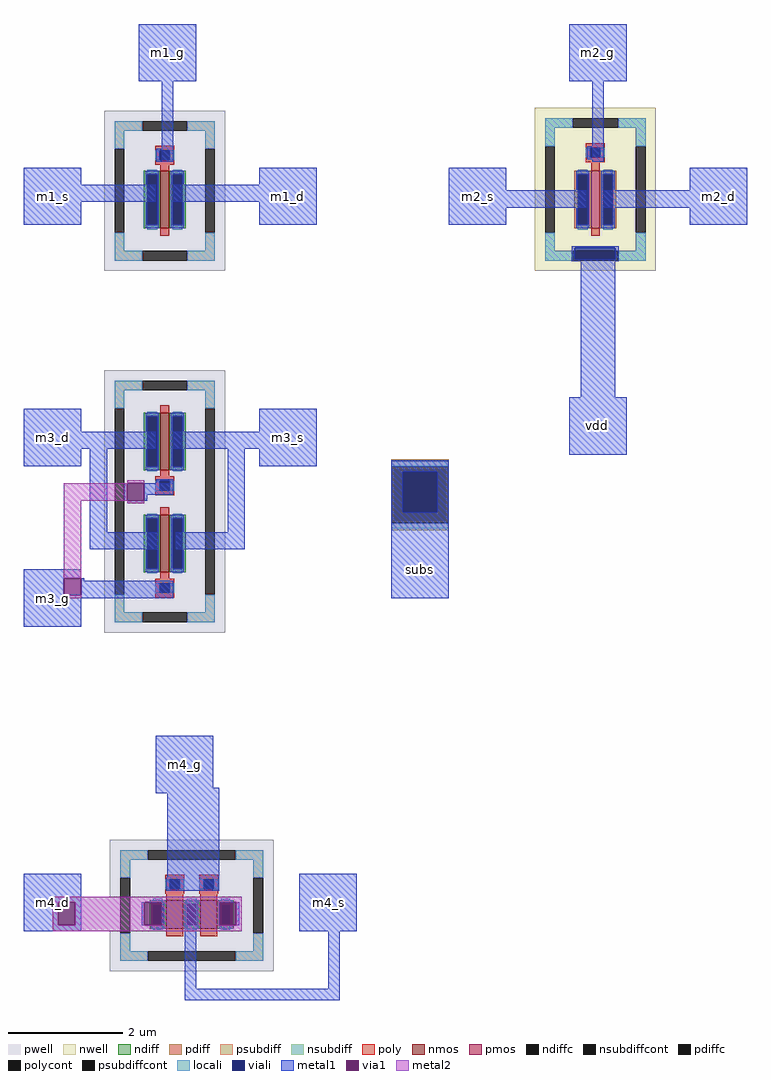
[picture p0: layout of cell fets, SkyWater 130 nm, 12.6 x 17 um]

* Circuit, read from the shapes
.subckt fets subs vdd m1_d m1_s m1_g m2_s m2_d m2_g m3_d m3_s m3_g m4_d m4_s m4_g
XM1 m3_s m3_g m3_d subs sky130_fd_pr__nfet_01v8 w=1 l=0.15 m=2
XM2 m1_d m1_g m1_s subs sky130_fd_pr__nfet_01v8 w=1 l=0.15
XM3 m4_s m4_g m4_d subs sky130_fd_pr__nfet_01v8 w=0.5 l=0.3 m=2
XM4 m2_d m2_g m2_s vdd sky130_fd_pr__pfet_01v8 w=1 l=0.15
.ends

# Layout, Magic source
magic
tech sky130A
magscale 1 2
<< pwell >>
rect -40 1360 80 1400
rect -340 -160 -140 -40
rect 240 -160 320 -40
<< psubdiff >>
rect 840 1460 1040 1484
rect 840 1236 1040 1260
<< psubdiffcont >>
rect 840 1260 1040 1460
<< locali >>
rect 840 1460 1040 1476
rect 840 1244 1040 1260
<< viali >>
rect 1480 2180 1620 2220
rect 880 1300 1000 1440
<< metal1 >>
rect -40 2800 160 3000
rect 1460 2800 1660 3000
rect 40 2520 80 2800
rect 1540 2520 1580 2800
rect -440 2440 -240 2500
rect 380 2440 580 2500
rect -440 2380 20 2440
rect 80 2380 580 2440
rect -440 2300 -240 2380
rect 380 2300 580 2380
rect 1040 2420 1240 2500
rect 1880 2420 2080 2500
rect 1040 2360 1520 2420
rect 1580 2360 2080 2420
rect 1040 2300 1240 2360
rect 1880 2300 2080 2360
rect 1468 2220 1632 2226
rect 1468 2180 1480 2220
rect 1620 2180 1632 2220
rect 1468 2174 1632 2180
rect 1500 1700 1620 2174
rect -440 1580 -240 1660
rect 380 1580 580 1660
rect -440 1520 20 1580
rect 80 1520 580 1580
rect -440 1460 -240 1520
rect -210 1230 -150 1520
rect -90 1340 -80 1400
rect -20 1360 80 1400
rect -20 1340 -10 1360
rect 270 1230 330 1520
rect 380 1460 580 1520
rect 1460 1500 1660 1700
rect -210 1170 30 1230
rect 90 1170 330 1230
rect 840 1440 1040 1480
rect 840 1300 880 1440
rect 1000 1300 1040 1440
rect -440 1070 -240 1100
rect -440 1010 -300 1070
rect -240 1060 -230 1070
rect -240 1010 80 1060
rect -440 1000 80 1010
rect 840 1000 1040 1300
rect -440 900 -240 1000
rect 20 340 220 520
rect 20 320 240 340
rect -440 -60 -240 40
rect 60 -20 240 320
rect -440 -140 -320 -60
rect -260 -140 -240 -60
rect -30 -140 -20 -60
rect 40 -140 50 -60
rect -440 -160 -240 -140
rect 120 -360 160 -60
rect 300 -140 310 -60
rect 520 -160 720 40
rect 620 -360 660 -160
rect 120 -400 660 -360
<< via1 >>
rect -80 1340 -20 1400
rect -300 1010 -240 1070
rect -320 -140 -260 -60
rect -20 -140 40 -60
rect 240 -140 300 -60
<< metal2 >>
rect -80 1400 -20 1410
rect -300 1340 -80 1400
rect -300 1070 -240 1340
rect -80 1330 -20 1340
rect -300 1000 -240 1010
rect -340 -60 320 -40
rect -340 -140 -320 -60
rect -260 -140 -20 -60
rect 40 -140 240 -60
rect 300 -140 320 -60
rect -340 -160 320 -140
use sky130_fd_pr__nfet_01v8_64Z3AY  XM1
transform 1 0 51 0 1 2419
box -211 -279 211 279
use sky130_fd_pr__pfet_01v8_MGS3BN  XM2
transform 1 0 1551 0 1 2424
box -211 -284 211 284
use sky130_fd_pr__nfet_01v8_BB6ZKZ  XM3
transform 1 0 51 0 1 1337
box -211 -457 211 457
use sky130_fd_pr__nfet_01v8_F7DBYB  XM4
transform 1 0 145 0 1 -71
box -285 -229 285 229
<< labels >>
flabel metal1 -440 2300 -240 2500 0 FreeSans 256 0 0 0 m1_s
port 3 nsew
flabel metal1 -40 2800 160 3000 0 FreeSans 256 0 0 0 m1_g
port 4 nsew
flabel metal1 380 2300 580 2500 0 FreeSans 256 0 0 0 m1_d
port 2 nsew
flabel metal1 1460 2800 1660 3000 0 FreeSans 256 0 0 0 m2_g
port 7 nsew
flabel metal1 1880 2300 2080 2500 0 FreeSans 256 0 0 0 m2_d
port 6 nsew
flabel metal1 1040 2300 1240 2500 0 FreeSans 256 0 0 0 m2_s
port 5 nsew
flabel metal1 -440 1460 -240 1660 0 FreeSans 256 0 0 0 m3_d
port 8 nsew
flabel metal1 380 1460 580 1660 0 FreeSans 256 0 0 0 m3_s
port 9 nsew
flabel metal1 -440 -160 -240 40 0 FreeSans 256 0 0 0 m4_d
port 11 nsew
flabel metal1 520 -160 720 40 0 FreeSans 256 0 0 0 m4_s
port 12 nsew
flabel metal1 20 320 220 520 0 FreeSans 256 0 0 0 m4_g
port 13 nsew
flabel metal1 840 1000 1040 1200 0 FreeSans 256 0 0 0 subs
port 0 nsew
flabel metal1 1460 1500 1660 1700 0 FreeSans 256 0 0 0 vdd
port 1 nsew
flabel metal1 -440 900 -240 1100 0 FreeSans 256 0 0 0 m3_g
port 10 nsew
<< end >>

# cell sky130_fd_pr__nfet_01v8_64Z3AY: kit device sky130_fd_pr__nfet_01v8, w 1.0 l 0.15 m 1 nf 1 diffcov 100 polycov 100 guard 1 glc 1 grc 1 gtc 1 gbc 1 tbcov 100 rlcov 100 topc 1 botc 0 poverlap 0 doverlap 1 lmin 0.15 wmin 0.42 compatible {sky130_fd_pr__nfet_01v8 sky130_fd_pr__nfet_01v8_lvt sky130_fd_bs_flash__special_sonosfet_star sky130_fd_pr__nfet_g5v0d10v5 sky130_fd_pr__nfet_05v0_nvt sky130_fd_pr__nfet_03v3_nvt} full_metal 1 viasrc 100 viadrn 100 viagate 100 viagb 0 viagr 0 viagl 0 viagt 0

# cell sky130_fd_pr__pfet_01v8_MGS3BN: kit device sky130_fd_pr__pfet_01v8, w 1.0 l 0.15 m 1 nf 1 diffcov 100 polycov 100 guard 1 glc 1 grc 1 gtc 1 gbc 1 tbcov 100 rlcov 100 topc 1 botc 0 poverlap 0 doverlap 1 lmin 0.15 wmin 0.42 compatible {sky130_fd_pr__pfet_01v8 sky130_fd_pr__pfet_01v8_lvt sky130_fd_pr__pfet_01v8_hvt sky130_fd_pr__pfet_g5v0d10v5} full_metal 1 viasrc 100 viadrn 100 viagate 100 viagb 0 viagr 0 viagl 0 viagt 0

# cell sky130_fd_pr__nfet_01v8_BB6ZKZ: kit device sky130_fd_pr__nfet_01v8, w 1.0 l 0.15 m 2 nf 1 diffcov 100 polycov 100 guard 1 glc 1 grc 1 gtc 1 gbc 1 tbcov 100 rlcov 100 topc 0 botc 1 poverlap 0 doverlap 1 lmin 0.15 wmin 0.42 compatible {sky130_fd_pr__nfet_01v8 sky130_fd_pr__nfet_01v8_lvt sky130_fd_bs_flash__special_sonosfet_star sky130_fd_pr__nfet_g5v0d10v5 sky130_fd_pr__nfet_05v0_nvt sky130_fd_pr__nfet_03v3_nvt} full_metal 1 viasrc 100 viadrn 100 viagate 100 viagb 0 viagr 0 viagl 0 viagt 0

# cell sky130_fd_pr__nfet_01v8_F7DBYB: kit device sky130_fd_pr__nfet_01v8, w 0.5 l 0.3 m 1 nf 2 diffcov 100 polycov 100 guard 1 glc 1 grc 1 gtc 1 gbc 1 tbcov 100 rlcov 100 topc 1 botc 0 poverlap 0 doverlap 1 lmin 0.15 wmin 0.42 compatible {sky130_fd_pr__nfet_01v8 sky130_fd_pr__nfet_01v8_lvt sky130_fd_bs_flash__special_sonosfet_star sky130_fd_pr__nfet_g5v0d10v5 sky130_fd_pr__nfet_05v0_nvt sky130_fd_pr__nfet_03v3_nvt} full_metal 1 viasrc 100 viadrn 100 viagate 100 viagb 0 viagr 0 viagl 0 viagt 0
